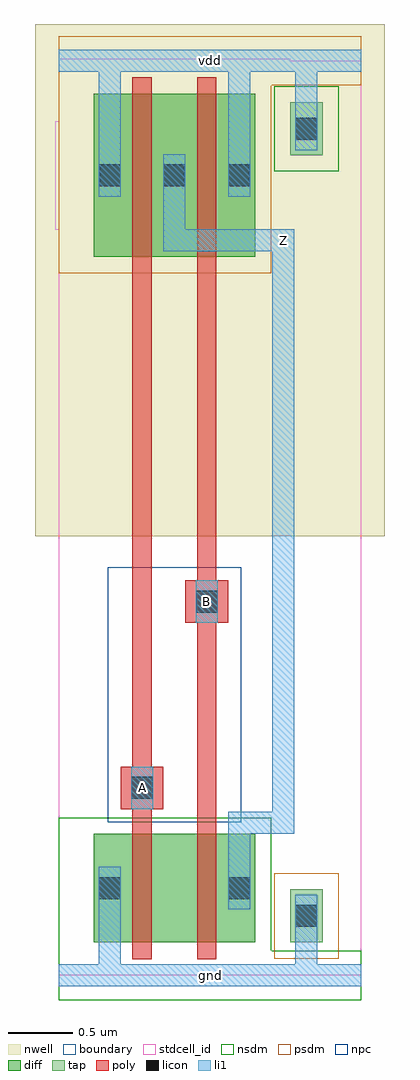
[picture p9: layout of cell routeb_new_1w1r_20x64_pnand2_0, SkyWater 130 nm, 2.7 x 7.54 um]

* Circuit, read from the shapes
.subckt routeb_new_1w1r_20x64_pnand2_0 A B Z gnd vdd
XM1 routeb_new_1w1r_20x64_nmos_m1_w0_840_sli_dactive_2/D A gnd gnd sky130_fd_pr__nfet_01v8 w=0.84 l=0.15
XM2 Z B routeb_new_1w1r_20x64_nmos_m1_w0_840_sli_dactive_2/D gnd sky130_fd_pr__nfet_01v8 w=0.84 l=0.15
XM3 Z A vdd vdd sky130_fd_pr__pfet_01v8 w=1.26 l=0.15
XM4 vdd B Z vdd sky130_fd_pr__pfet_01v8 w=1.26 l=0.15
.ends

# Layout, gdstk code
import gdstk
lib = gdstk.Library(unit=1e-6, precision=1e-09)
def R(c, l, rs):  # rectangles x0, y0, x1, y1
    for r in rs: c.add(gdstk.rectangle(r[:2], r[2:], *l))
nwell = (64, 20)
diff = (65, 20)
tap = (65, 44)
poly = (66, 20)
licon = (66, 44)
li1 = (67, 20)
stdcell_id = (81, 4)
nsdm = (93, 44)
psdm = (94, 20)
npc = (95, 20)
boundary = (235, 4)

routeb_new_1w1r_20x64_co = lib.new_cell('routeb_new_1w1r_20x64_contact_11')
R(routeb_new_1w1r_20x64_co, nwell, [(-0.295,-0.255,0.545,0.585)])
R(routeb_new_1w1r_20x64_co, diff, [(0,0.02,0.25,0.31)])
R(routeb_new_1w1r_20x64_co, licon, [(0.04,0.08,0.21,0.25)])
R(routeb_new_1w1r_20x64_co, li1, [(0.04,0,0.21,0.33)])
R(routeb_new_1w1r_20x64_co, stdcell_id, [(-0.295,-0.255,0.545,0.585)])
R(routeb_new_1w1r_20x64_co, psdm, [(-0.125,-0.105,0.375,0.435)])
R(routeb_new_1w1r_20x64_co, boundary, [(-0.295,-0.255,0.545,0.585)])

routeb_new_1w1r_20x64_pm = lib.new_cell('routeb_new_1w1r_20x64_pmos_m1_w1_260_sli_dli')
R(routeb_new_1w1r_20x64_pm, nwell, [(-0.27,-0.27,1.02,1.53)])
R(routeb_new_1w1r_20x64_pm, diff, [(0,0,0.75,1.26)])
R(routeb_new_1w1r_20x64_pm, poly, [(0.3,-0.13,0.45,1.39), (0.3,-0.13,0.45,1.39)])
R(routeb_new_1w1r_20x64_pm, li1, [(0.04,0.465,0.21,0.795), (0.54,0.465,0.71,0.795)])
R(routeb_new_1w1r_20x64_pm, stdcell_id, [(-0.27,-0.27,1.02,1.53)])
R(routeb_new_1w1r_20x64_pm, psdm, [(-0.125,-0.125,0.875,1.385)])
R(routeb_new_1w1r_20x64_pm, boundary, [(-0.27,-0.27,1.02,1.53)])
routeb_new_1w1r_20x64_pm.add(gdstk.Reference(routeb_new_1w1r_20x64_co, (0,0.465)))
routeb_new_1w1r_20x64_pm.add(gdstk.Reference(routeb_new_1w1r_20x64_co, (0.5,0.465)))
routeb_new_1w1r_20x64_pm.add(gdstk.Label('G', (0.375,0.63), layer=66, texttype=5))
routeb_new_1w1r_20x64_pm.add(gdstk.Label('S', (0.125,0.63), layer=67, texttype=5))
routeb_new_1w1r_20x64_pm.add(gdstk.Label('D', (0.625,0.63), layer=67, texttype=5))

c_routeb_new_1w1r_20x64_co = lib.new_cell('routeb_new_1w1r_20x64_contact_10')
R(c_routeb_new_1w1r_20x64_co, diff, [(0,0.02,0.25,0.31)])
R(c_routeb_new_1w1r_20x64_co, licon, [(0.04,0.08,0.21,0.25)])
R(c_routeb_new_1w1r_20x64_co, li1, [(0.04,0,0.21,0.33)])
R(c_routeb_new_1w1r_20x64_co, stdcell_id, [(-0.125,-0.105,0.375,0.435)])
R(c_routeb_new_1w1r_20x64_co, nsdm, [(-0.125,-0.105,0.375,0.435)])
R(c_routeb_new_1w1r_20x64_co, boundary, [(-0.125,-0.105,0.375,0.435)])

routeb_new_1w1r_20x64_nm = lib.new_cell('routeb_new_1w1r_20x64_nmos_m1_w0_840_sli_dactive')
R(routeb_new_1w1r_20x64_nm, diff, [(0,0,0.75,0.84), (0.55,0.345,0.7,0.495)])
R(routeb_new_1w1r_20x64_nm, poly, [(0.3,-0.13,0.45,0.97), (0.3,-0.13,0.45,0.97)])
R(routeb_new_1w1r_20x64_nm, li1, [(0.04,0.255,0.21,0.585)])
R(routeb_new_1w1r_20x64_nm, stdcell_id, [(-0.125,-0.13,0.875,0.97)])
R(routeb_new_1w1r_20x64_nm, nsdm, [(-0.125,-0.125,0.875,0.965)])
R(routeb_new_1w1r_20x64_nm, boundary, [(-0.125,-0.13,0.875,0.97)])
routeb_new_1w1r_20x64_nm.add(gdstk.Reference(c_routeb_new_1w1r_20x64_co, (0,0.255)))
routeb_new_1w1r_20x64_nm.add(gdstk.Label('G', (0.375,0.42), layer=66, texttype=5))
routeb_new_1w1r_20x64_nm.add(gdstk.Label('S', (0.125,0.42), layer=67, texttype=5))
routeb_new_1w1r_20x64_nm.add(gdstk.Label('D', (0.625,0.42), layer=65, texttype=5))

c_routeb_new_1w1r_20x64_nm = lib.new_cell('routeb_new_1w1r_20x64_nmos_m1_w0_840_sactive_dli')
R(c_routeb_new_1w1r_20x64_nm, diff, [(0,0,0.75,0.84), (0.05,0.345,0.2,0.495)])
R(c_routeb_new_1w1r_20x64_nm, poly, [(0.3,-0.13,0.45,0.97), (0.3,-0.13,0.45,0.97)])
R(c_routeb_new_1w1r_20x64_nm, li1, [(0.54,0.255,0.71,0.585)])
R(c_routeb_new_1w1r_20x64_nm, stdcell_id, [(-0.125,-0.13,0.875,0.97)])
R(c_routeb_new_1w1r_20x64_nm, nsdm, [(-0.125,-0.125,0.875,0.965)])
R(c_routeb_new_1w1r_20x64_nm, boundary, [(-0.125,-0.13,0.875,0.97)])
c_routeb_new_1w1r_20x64_nm.add(gdstk.Reference(c_routeb_new_1w1r_20x64_co, (0.5,0.255)))
c_routeb_new_1w1r_20x64_nm.add(gdstk.Label('G', (0.375,0.42), layer=66, texttype=5))
c_routeb_new_1w1r_20x64_nm.add(gdstk.Label('S', (0.125,0.42), layer=65, texttype=5))
c_routeb_new_1w1r_20x64_nm.add(gdstk.Label('D', (0.625,0.42), layer=67, texttype=5))

c_routeb_new_1w1r_20x64_co_ = lib.new_cell('routeb_new_1w1r_20x64_contact_24')
R(c_routeb_new_1w1r_20x64_co_, nwell, [(-0.295,-0.215,0.545,0.625)])
R(c_routeb_new_1w1r_20x64_co_, tap, [(0,0,0.25,0.41)])
R(c_routeb_new_1w1r_20x64_co_, licon, [(0.04,0.12,0.21,0.29)])
R(c_routeb_new_1w1r_20x64_co_, li1, [(0.04,0.04,0.21,0.37)])
R(c_routeb_new_1w1r_20x64_co_, stdcell_id, [(-0.295,-0.215,0.545,0.625)])
R(c_routeb_new_1w1r_20x64_co_, nsdm, [(-0.125,-0.125,0.375,0.535)])
R(c_routeb_new_1w1r_20x64_co_, boundary, [(-0.295,-0.215,0.545,0.625)])

c_routeb_new_1w1r_20x64_co__ = lib.new_cell('routeb_new_1w1r_20x64_contact_25')
R(c_routeb_new_1w1r_20x64_co__, tap, [(0,0,0.25,0.41)])
R(c_routeb_new_1w1r_20x64_co__, licon, [(0.04,0.12,0.21,0.29)])
R(c_routeb_new_1w1r_20x64_co__, li1, [(0.04,0.04,0.21,0.37)])
R(c_routeb_new_1w1r_20x64_co__, stdcell_id, [(-0.125,-0.125,0.375,0.535)])
R(c_routeb_new_1w1r_20x64_co__, psdm, [(-0.125,-0.125,0.375,0.535)])
R(c_routeb_new_1w1r_20x64_co__, boundary, [(-0.125,-0.125,0.375,0.535)])

c_routeb_new_1w1r_20x64_co___ = lib.new_cell('routeb_new_1w1r_20x64_contact_15')
R(c_routeb_new_1w1r_20x64_co___, poly, [(0,0,0.33,0.33)])
R(c_routeb_new_1w1r_20x64_co___, licon, [(0.08,0.08,0.25,0.25)])
R(c_routeb_new_1w1r_20x64_co___, li1, [(0.08,0,0.25,0.33)])
R(c_routeb_new_1w1r_20x64_co___, stdcell_id, [(-0.1,-0.1,0.43,0.43)])
R(c_routeb_new_1w1r_20x64_co___, npc, [(-0.1,-0.1,0.43,0.43)])
R(c_routeb_new_1w1r_20x64_co___, boundary, [(-0.1,-0.1,0.43,0.43)])

routeb_new_1w1r_20x64_pn = lib.new_cell('routeb_new_1w1r_20x64_pnand2_0')
R(routeb_new_1w1r_20x64_pn, nwell, [(-0.18,3.395,2.52,7.355)])
R(routeb_new_1w1r_20x64_pn, poly, [(0.57,1.225,0.72,5.425), (1.07,1.225,1.22,5.425), (0.57,1.285,0.645,1.615), (1.07,2.725,1.145,3.055)])
R(routeb_new_1w1r_20x64_pn, li1, [(0,-0.085,2.34,0.085), (0.31,-0.085,0.48,0.51), (1.83,0,2,0.46), (1.31,0.84,1.48,1.18), (1.31,1.095,1.48,1.265), (1.395,1.095,1.735,1.265), (1.65,1.095,1.82,1.265), (1.65,1.18,1.82,5.685), (0.56,1.285,0.73,1.615), (1.06,2.725,1.23,3.055), (0.81,5.6,0.98,5.77), (0.895,5.6,1.735,5.77), (1.65,5.6,1.82,5.77), (0.81,5.685,0.98,6.02), (0.31,6.02,0.48,7.155), (1.31,6.02,1.48,7.155), (1.83,6.545,2,7.07), (0,6.985,2.34,7.155)])
R(routeb_new_1w1r_20x64_pn, stdcell_id, [(0,0,2.34,7.07), (0,0,2.34,7.07)])
R(routeb_new_1w1r_20x64_pn, nsdm, [(0,-0.19,2.34,0.19), (0,0,1.645,1.22)])
R(routeb_new_1w1r_20x64_pn, psdm, [(0,5.43,1.645,7.07), (0,6.88,2.34,7.26)])
R(routeb_new_1w1r_20x64_pn, npc, [(0.38,1.185,1.41,3.155)])
R(routeb_new_1w1r_20x64_pn, boundary, [(0,0,2.34,7.07), (0,0,2.34,7.07)])
routeb_new_1w1r_20x64_pn.add(gdstk.Reference(routeb_new_1w1r_20x64_pm, (0.27,5.555)))
routeb_new_1w1r_20x64_pn.add(gdstk.Reference(routeb_new_1w1r_20x64_pm, (0.77,5.555)))
routeb_new_1w1r_20x64_pn.add(gdstk.Reference(routeb_new_1w1r_20x64_nm, (0.27,0.255)))
routeb_new_1w1r_20x64_pn.add(gdstk.Reference(c_routeb_new_1w1r_20x64_nm, (0.77,0.255)))
routeb_new_1w1r_20x64_pn.add(gdstk.Reference(c_routeb_new_1w1r_20x64_co_, (1.79,6.34)))
routeb_new_1w1r_20x64_pn.add(gdstk.Reference(c_routeb_new_1w1r_20x64_co__, (1.79,0.255)))
routeb_new_1w1r_20x64_pn.add(gdstk.Reference(c_routeb_new_1w1r_20x64_co___, (0.48,1.285)))
routeb_new_1w1r_20x64_pn.add(gdstk.Reference(c_routeb_new_1w1r_20x64_co___, (0.98,2.725)))
routeb_new_1w1r_20x64_pn.add(gdstk.Label('Z', (1.735,5.685), layer=67, texttype=5))
routeb_new_1w1r_20x64_pn.add(gdstk.Label('gnd', (1.17,0), layer=67, texttype=5))
routeb_new_1w1r_20x64_pn.add(gdstk.Label('vdd', (1.17,7.07), layer=67, texttype=5))
routeb_new_1w1r_20x64_pn.add(gdstk.Label('A', (0.645,1.45), layer=67, texttype=5))
routeb_new_1w1r_20x64_pn.add(gdstk.Label('B', (1.145,2.89), layer=67, texttype=5))

lib.write_gds('routeb_new_1w1r_20x64_pnand2_0.gds')
